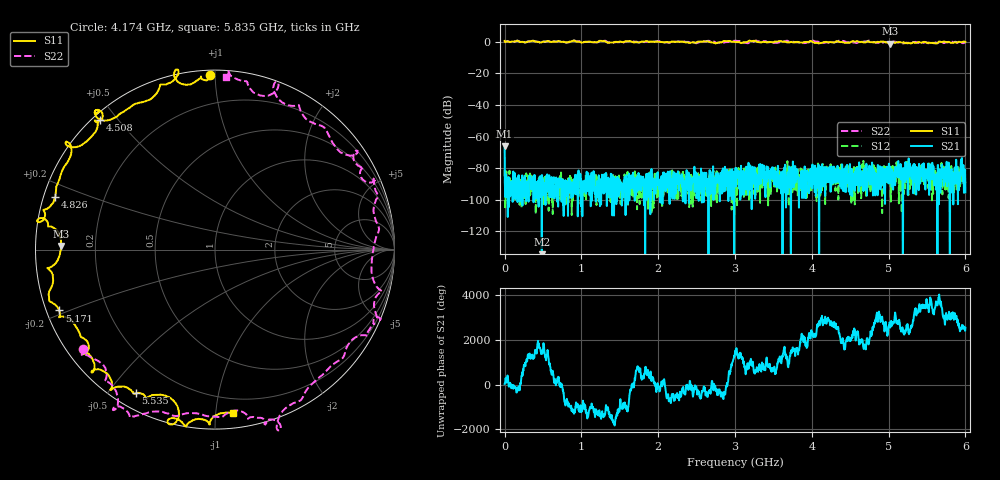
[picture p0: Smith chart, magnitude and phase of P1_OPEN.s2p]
# Hz S RI R 50
! RAW DATA - UNCALIBRATED
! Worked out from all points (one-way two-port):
!   1601 points, 30 kHz to 6 GHz, reference 50 ohm
!   highest |S21| = -66.29 dB at 30 kHz (marker M1); lowest = -185.8 dB at 483.8 MHz (marker M2)
!   lowest |S11| = -1.3 dB at 5.021 GHz (marker M3), VSWR 13.01, Z = 3.84 + j0.577 ohm
!   |S11| at or under -10 dB: nowhere
!   |S22| runs from -1.2 to 0.7 dB; largest |S21 - S12| = 0.00056
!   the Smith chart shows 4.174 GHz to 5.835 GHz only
!   S11 on the Smith chart (normalised r, x): 4.174 GHz: 0.03, +0.97; 4.508 GHz: 0.02, +0.45; 4.826 GHz: 0.03, +0.16; 5.171 GHz: 0.04, -0.19; 5.535 GHz: 0.06, -0.59; 5.835 GHz: 0.10, -1.11
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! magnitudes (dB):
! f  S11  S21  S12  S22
! 30 kHz  0.4  -66.3  -80.9  0.4
! 33.78 MHz  0.1  -89.7  -86.9  0.4
! 483.8 MHz  -0.4  -185.8  -85.3  -0.4
! 1.001 GHz  -0.6  -88.0  -96.6  -0.4
! 2.003 GHz  -0.1  -86.9  -92.4  0.3
! 2.49 GHz  -0.7  -89.7  -98.5  -1.1
! 2.659 GHz  -0.1  -87.4  -97.5  0.5
! 2.816 GHz  -0.5  -89.9  -87.9  -0.8
! 3 GHz  -0.3  -86.9  -82.3  0.5
! 3.15 GHz  -0.4  -82.9  -94.9  -0.9
! 3.285 GHz  -0.1  -89.6  -83.9  0.4
! 3.893 GHz  -0.4  -83.2  -86.1  -0.9
! 4.001 GHz  0.0  -83.3  -89.9  0.4
! 4.174 GHz  -0.2  -97.6  -102.7  -0.7
! 4.508 GHz  -0.3  -83.2  -92.9  -0.7
! 4.826 GHz  -0.6  -97.2  -79.0  -0.5
! 5.003 GHz  -1.1  -77.3  -85.1  -0.3
! 5.021 GHz  -1.3  -82.2  -79.2  -0.2
! 5.171 GHz  -0.6  -82.1  -108.4  -0.9
! 5.535 GHz  -0.8  -82.1  -93.5  -1.0
! 5.835 GHz  -0.8  -82.8  -84.1  -0.3
! 6 GHz  -0.3  -95.3  -88.4  -0.4
